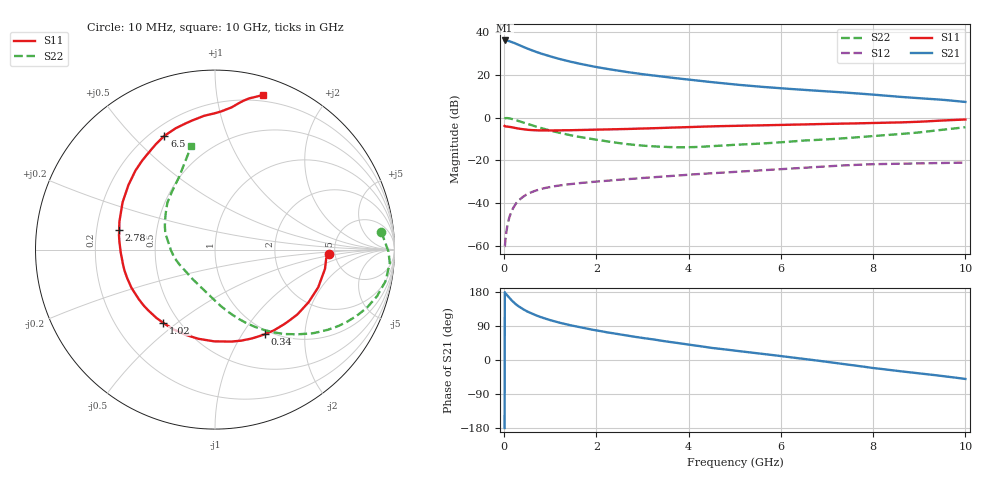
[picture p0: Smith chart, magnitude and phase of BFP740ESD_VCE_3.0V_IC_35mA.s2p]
! Infineon Technologies  Discrete & RF Semiconductors
! BFP740ESD
! VCE =  3.0 V,  IC =  35 mA
! Common Emitter S-Parameters:  Jan 2016
# GHz  S  MA  R  50
!  f  S11  S21  S12  S22
! GHz  MAG  ANG  MAG  ANG  MAG  ANG  MAG  ANG
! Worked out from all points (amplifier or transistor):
!   233 points, 10 MHz to 10 GHz, reference 50 ohm
!   highest |S21| = 36.0 dB at 10 MHz (marker M1)
!   |S21| within 3 dB of that: start of sweep to 415.3 MHz
!   unconditionally stable (mu >= 1): 4.044 GHz to 6.686 GHz
!   at 200 MHz: K = 0.21, MSG = 38.5 dB, |S12| = -42.0 dB
!   at 1.74 GHz: K = 0.72, MSG = 27.5 dB, |S12| = -30.4 dB
!   at 10 GHz: K = 0.71, MSG = 14.1 dB, |S12| = -21.0 dB
!   S11 on the Smith chart (normalised r, x): 10 MHz: 4.48, -0.35; 340 MHz: 0.94, -1.27; 1.02 GHz: 0.41, -0.44; 2.78 GHz: 0.30, +0.09; 6.5 GHz: 0.25, +0.62; 10 GHz: 0.15, +1.34
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0.01  0.6367 -2.1  62.84 -179.5  0.001 93.1  0.9319 6.1
0.02  0.6214 -4.5  62.3 177.1  0.0011 90.0  0.9667 -0.7
0.04  0.6213 -8.1  62.09 174.2  0.0018 87.3  0.9731 -3.2
0.1  0.6123 -20.1  61.09 165.7  0.0042 81.1  0.9659 -10.6
0.15  0.5982 -29.3  58.81 158.9  0.0061 77.0  0.9396 -16.0
0.2  0.5844 -38.1  56.14 153.0  0.0079 73.5  0.9071 -20.8
0.24  0.5713 -44.5  53.66 148.6  0.0093 71.2  0.879 -24.1
0.34  0.5469 -59.5  48.23 139.5  0.0123 65.6  0.81 -31.6
0.45  0.5279 -73.9  42.89 131.4  0.0152 60.7  0.7406 -38.3
0.6  0.5111 -90.6  37.02 122.3  0.0183 55.4  0.6573 -45.9
0.8  0.5023 -109.1  31.1 113.0  0.0216 50.1  0.5686 -54.3
1.02  0.4999 -125.6  26.32 104.6  0.0242 45.9  0.4909 -62.0
1.32  0.505 -142.9  21.57 94.9  0.0271 42.0  0.412 -70.6
1.68  0.5124 -158.6  17.63 85.4  0.0299 39.4  0.3462 -79.2
2.2  0.5236 -176.1  13.82 73.7  0.0334 37.3  0.2815 -90.6
2.78  0.5454 168.5  11.06 62.2  0.0373 35.7  0.2325 -105.7
3.4  0.572 155.0  9.092 51.2  0.0419 34.2  0.2086 -123.2
5.1  0.6432 128.3  5.778 23.3  0.0546 27.8  0.2337 -171.3
6.5  0.6938 114.0  4.427 2.8  0.0673 21.2  0.2911 162.0
6.8  0.7028 110.4  4.213 -1.7  0.0705 19.1  0.3018 157.3
8.4  0.7612 89.6  3.152 -26.9  0.0831 4.3  0.3979 127.7
10  0.9007 72.9  2.312 -50.1  0.089 -8.4  0.5943 102.8
